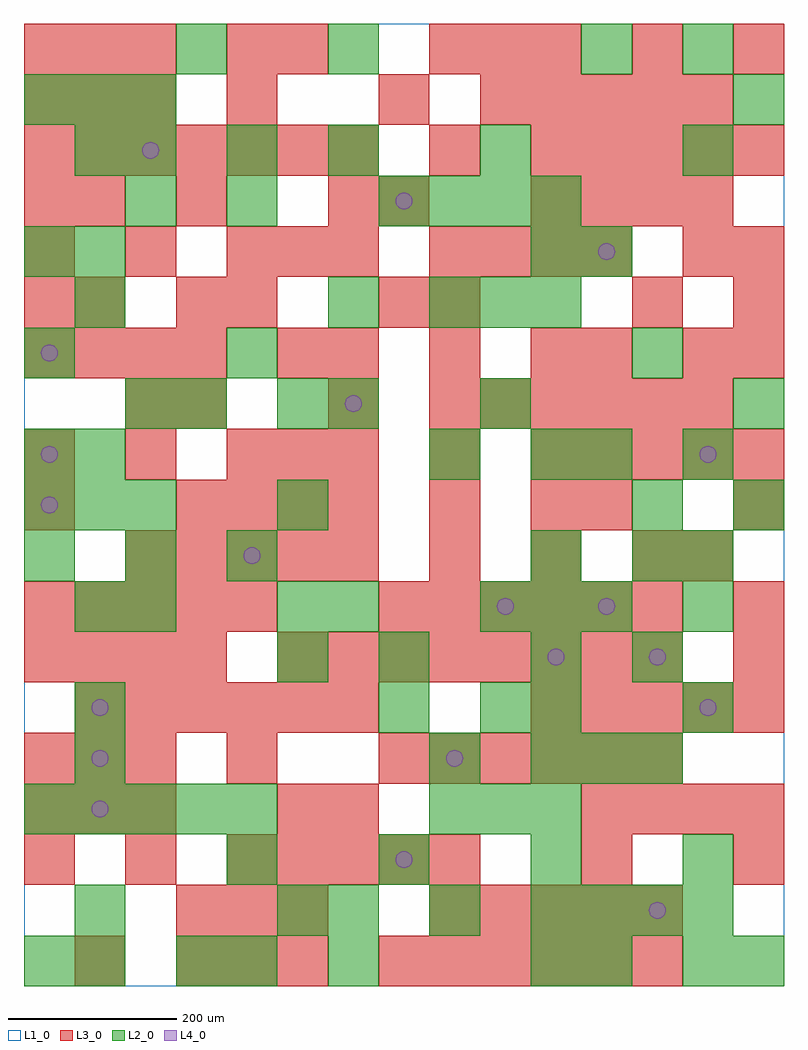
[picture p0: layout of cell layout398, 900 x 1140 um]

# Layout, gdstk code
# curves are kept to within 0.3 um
import gdstk
lib = gdstk.Library(unit=1e-6, precision=1e-09)
def R(c, l, rs):  # rectangles x0, y0, x1, y1
    for r in rs: c.add(gdstk.rectangle(r[:2], r[2:], *l))
def A(c, l, x, y, w, h, nx, ny, dx, dy):  # array of equal rectangles
    R(c, l, [(x+i*dx, y+j*dy, x+i*dx+w, y+j*dy+h) for i in range(nx) for j in range(ny)])
def P(c, l, *ps):  # polygons
    for p in ps: c.add(gdstk.Polygon(p, *l))
L1_0 = (1, 0)
L2_0 = (2, 0)
L3_0 = (3, 0)
L4_0 = (4, 0)

layout398 = lib.new_cell('layout398')
R(layout398, L1_0, [(0,0,900,1140)])
A(layout398, L2_0, 360, 60, 60, 60, 3, 1, 120, 0)
A(layout398, L2_0, 660, 60, 60, 60, 3, 1, 60, 0)
A(layout398, L2_0, 240, 120, 60, 60, 4, 1, 180, 0)
A(layout398, L2_0, 0, 180, 60, 60, 5, 1, 60, 0)
A(layout398, L2_0, 480, 180, 60, 60, 3, 2, 60, 600)
A(layout398, L2_0, 600, 240, 60, 60, 3, 1, 60, 0)
A(layout398, L2_0, 600, 360, 60, 60, 1, 3, 0, 120)
A(layout398, L2_0, 60, 420, 60, 60, 1, 3, 0, 180)
A(layout398, L2_0, 120, 420, 60, 60, 1, 3, 0, 240)
A(layout398, L2_0, 300, 420, 60, 60, 1, 3, 0, 120)
A(layout398, L2_0, 540, 420, 60, 60, 3, 1, 60, 0)
A(layout398, L2_0, 0, 480, 60, 60, 3, 1, 120, 0)
A(layout398, L2_0, 0, 540, 60, 60, 3, 2, 60, 480)
A(layout398, L2_0, 0, 600, 60, 60, 1, 3, 0, 120)
A(layout398, L2_0, 660, 600, 60, 60, 1, 3, 0, 240)
A(layout398, L2_0, 420, 900, 60, 60, 4, 1, 60, 0)
A(layout398, L2_0, 120, 960, 60, 60, 3, 1, 120, 0)
R(layout398, L2_0, [(0,0,60,60), (60,0,120,60), (180,0,240,60), (240,0,300,60), (360,0,420,60), (600,0,660,60), (660,0,720,60), (780,0,840,60), (840,0,900,60), (60,60,120,120), (300,60,360,120), (60,240,120,300), (480,240,540,300), (60,300,120,360), (420,300,480,360), (540,300,600,360), (600,300,660,360), (780,300,840,360), (300,360,360,420), (420,360,480,420), (720,360,780,420), (360,420,420,480), (780,420,840,480), (720,480,780,540), (780,480,840,540), (720,540,780,600), (840,540,900,600), (480,600,540,660), (780,600,840,660), (180,660,240,720), (360,660,420,720), (540,660,600,720), (840,660,900,720), (240,720,300,780), (720,720,780,780), (360,780,420,840), (60,840,120,900), (600,840,660,900), (240,900,300,960), (60,960,120,1020), (540,960,600,1020), (780,960,840,1020), (840,1020,900,1080), (180,1080,240,1140), (360,1080,420,1140), (780,1080,840,1140)])
A(layout398, L3_0, 180, 0, 60, 60, 3, 2, 60, 60)
A(layout398, L3_0, 420, 0, 60, 60, 6, 2, 60, 240)
A(layout398, L3_0, 480, 60, 60, 60, 5, 1, 60, 0)
A(layout398, L3_0, 0, 120, 60, 60, 3, 2, 120, 480)
A(layout398, L3_0, 300, 120, 60, 60, 4, 1, 60, 0)
A(layout398, L3_0, 0, 180, 60, 60, 3, 2, 60, 60)
A(layout398, L3_0, 660, 180, 60, 60, 4, 2, 60, 420)
A(layout398, L3_0, 60, 300, 60, 60, 6, 1, 60, 0)
A(layout398, L3_0, 600, 300, 60, 60, 5, 2, 60, 660)
A(layout398, L3_0, 0, 360, 60, 60, 4, 2, 60, 360)
A(layout398, L3_0, 300, 360, 60, 60, 8, 1, 60, 0)
A(layout398, L3_0, 0, 420, 60, 60, 5, 1, 60, 0)
A(layout398, L3_0, 420, 420, 60, 60, 6, 1, 60, 0)
A(layout398, L3_0, 120, 480, 60, 60, 5, 1, 60, 0)
A(layout398, L3_0, 480, 480, 60, 60, 3, 1, 120, 0)
A(layout398, L3_0, 180, 540, 60, 60, 4, 1, 60, 0)
A(layout398, L3_0, 300, 600, 60, 60, 1, 3, 0, 120)
A(layout398, L3_0, 360, 600, 60, 60, 3, 2, 120, 120)
A(layout398, L3_0, 180, 660, 60, 60, 1, 3, 0, 120)
A(layout398, L3_0, 480, 660, 60, 60, 6, 1, 60, 0)
A(layout398, L3_0, 840, 720, 60, 60, 1, 3, 0, 60)
A(layout398, L3_0, 420, 780, 60, 60, 1, 3, 0, 120)
A(layout398, L3_0, 0, 840, 60, 60, 3, 1, 120, 0)
A(layout398, L3_0, 480, 840, 60, 60, 4, 1, 60, 0)
A(layout398, L3_0, 600, 900, 60, 60, 4, 1, 60, 0)
A(layout398, L3_0, 0, 960, 60, 60, 7, 1, 60, 0)
A(layout398, L3_0, 0, 1020, 60, 60, 3, 2, 60, 60)
A(layout398, L3_0, 540, 1020, 60, 60, 5, 1, 60, 0)
A(layout398, L3_0, 480, 1080, 60, 60, 3, 1, 60, 0)
R(layout398, L3_0, [(60,0,120,60), (660,120,720,180), (840,120,900,180), (300,180,360,240), (360,180,420,240), (240,240,300,300), (840,360,900,420), (840,420,900,480), (780,480,840,540), (0,540,60,600), (480,540,540,600), (600,540,660,600), (660,540,720,600), (840,540,900,600), (120,660,180,720), (360,660,420,720), (660,720,720,780), (780,720,840,780), (0,780,60,840), (60,780,120,840), (240,780,300,840), (480,780,540,840), (720,780,780,840), (360,840,420,900), (780,840,840,900), (0,900,60,960), (60,900,120,960), (360,900,420,960), (480,960,540,1020), (240,1020,300,1080), (240,1080,300,1140), (300,1080,360,1140), (720,1080,780,1140), (840,1080,900,1140)])
P(layout398, L4_0, [(40,570),(39.239,573.827),(37.071,577.071),(33.827,579.239),(30,580),(26.173,579.239),(22.929,577.071),(20.761,573.827),(20,570),(20.761,566.173),(22.929,562.929),(26.173,560.761),(30,560),(33.827,560.761),(37.071,562.929),(39.239,566.173)],
  [(40,630),(39.239,633.827),(37.071,637.071),(33.827,639.239),(30,640),(26.173,639.239),(22.929,637.071),(20.761,633.827),(20,630),(20.761,626.173),(22.929,622.929),(26.173,620.761),(30,620),(33.827,620.761),(37.071,622.929),(39.239,626.173)],
  [(40,750),(39.239,753.827),(37.071,757.071),(33.827,759.239),(30,760),(26.173,759.239),(22.929,757.071),(20.761,753.827),(20,750),(20.761,746.173),(22.929,742.929),(26.173,740.761),(30,740),(33.827,740.761),(37.071,742.929),(39.239,746.173)],
  [(100,210),(99.239,213.827),(97.071,217.071),(93.827,219.239),(90,220),(86.173,219.239),(82.929,217.071),(80.761,213.827),(80,210),(80.761,206.173),(82.929,202.929),(86.173,200.761),(90,200),(93.827,200.761),(97.071,202.929),(99.239,206.173)],
  [(100,270),(99.239,273.827),(97.071,277.071),(93.827,279.239),(90,280),(86.173,279.239),(82.929,277.071),(80.761,273.827),(80,270),(80.761,266.173),(82.929,262.929),(86.173,260.761),(90,260),(93.827,260.761),(97.071,262.929),(99.239,266.173)],
  [(100,330),(99.239,333.827),(97.071,337.071),(93.827,339.239),(90,340),(86.173,339.239),(82.929,337.071),(80.761,333.827),(80,330),(80.761,326.173),(82.929,322.929),(86.173,320.761),(90,320),(93.827,320.761),(97.071,322.929),(99.239,326.173)],
  [(160,990),(159.239,993.827),(157.071,997.071),(153.827,999.239),(150,1000),(146.173,999.239),(142.929,997.071),(140.761,993.827),(140,990),(140.761,986.173),(142.929,982.929),(146.173,980.761),(150,980),(153.827,980.761),(157.071,982.929),(159.239,986.173)],
  [(280,510),(279.239,513.827),(277.071,517.071),(273.827,519.239),(270,520),(266.173,519.239),(262.929,517.071),(260.761,513.827),(260,510),(260.761,506.173),(262.929,502.929),(266.173,500.761),(270,500),(273.827,500.761),(277.071,502.929),(279.239,506.173)],
  [(400,690),(399.239,693.827),(397.071,697.071),(393.827,699.239),(390,700),(386.173,699.239),(382.929,697.071),(380.761,693.827),(380,690),(380.761,686.173),(382.929,682.929),(386.173,680.761),(390,680),(393.827,680.761),(397.071,682.929),(399.239,686.173)],
  [(460,150),(459.239,153.827),(457.071,157.071),(453.827,159.239),(450,160),(446.173,159.239),(442.929,157.071),(440.761,153.827),(440,150),(440.761,146.173),(442.929,142.929),(446.173,140.761),(450,140),(453.827,140.761),(457.071,142.929),(459.239,146.173)],
  [(460,930),(459.239,933.827),(457.071,937.071),(453.827,939.239),(450,940),(446.173,939.239),(442.929,937.071),(440.761,933.827),(440,930),(440.761,926.173),(442.929,922.929),(446.173,920.761),(450,920),(453.827,920.761),(457.071,922.929),(459.239,926.173)],
  [(520,270),(519.239,273.827),(517.071,277.071),(513.827,279.239),(510,280),(506.173,279.239),(502.929,277.071),(500.761,273.827),(500,270),(500.761,266.173),(502.929,262.929),(506.173,260.761),(510,260),(513.827,260.761),(517.071,262.929),(519.239,266.173)],
  [(580,450),(579.239,453.827),(577.071,457.071),(573.827,459.239),(570,460),(566.173,459.239),(562.929,457.071),(560.761,453.827),(560,450),(560.761,446.173),(562.929,442.929),(566.173,440.761),(570,440),(573.827,440.761),(577.071,442.929),(579.239,446.173)],
  [(640,390),(639.239,393.827),(637.071,397.071),(633.827,399.239),(630,400),(626.173,399.239),(622.929,397.071),(620.761,393.827),(620,390),(620.761,386.173),(622.929,382.929),(626.173,380.761),(630,380),(633.827,380.761),(637.071,382.929),(639.239,386.173)],
  [(700,450),(699.239,453.827),(697.071,457.071),(693.827,459.239),(690,460),(686.173,459.239),(682.929,457.071),(680.761,453.827),(680,450),(680.761,446.173),(682.929,442.929),(686.173,440.761),(690,440),(693.827,440.761),(697.071,442.929),(699.239,446.173)],
  [(700,870),(699.239,873.827),(697.071,877.071),(693.827,879.239),(690,880),(686.173,879.239),(682.929,877.071),(680.761,873.827),(680,870),(680.761,866.173),(682.929,862.929),(686.173,860.761),(690,860),(693.827,860.761),(697.071,862.929),(699.239,866.173)],
  [(760,90),(759.239,93.827),(757.071,97.071),(753.827,99.239),(750,100),(746.173,99.239),(742.929,97.071),(740.761,93.827),(740,90),(740.761,86.173),(742.929,82.929),(746.173,80.761),(750,80),(753.827,80.761),(757.071,82.929),(759.239,86.173)],
  [(760,390),(759.239,393.827),(757.071,397.071),(753.827,399.239),(750,400),(746.173,399.239),(742.929,397.071),(740.761,393.827),(740,390),(740.761,386.173),(742.929,382.929),(746.173,380.761),(750,380),(753.827,380.761),(757.071,382.929),(759.239,386.173)],
  [(820,330),(819.239,333.827),(817.071,337.071),(813.827,339.239),(810,340),(806.173,339.239),(802.929,337.071),(800.761,333.827),(800,330),(800.761,326.173),(802.929,322.929),(806.173,320.761),(810,320),(813.827,320.761),(817.071,322.929),(819.239,326.173)],
  [(820,630),(819.239,633.827),(817.071,637.071),(813.827,639.239),(810,640),(806.173,639.239),(802.929,637.071),(800.761,633.827),(800,630),(800.761,626.173),(802.929,622.929),(806.173,620.761),(810,620),(813.827,620.761),(817.071,622.929),(819.239,626.173)])

lib.write_gds('layout398.gds')
